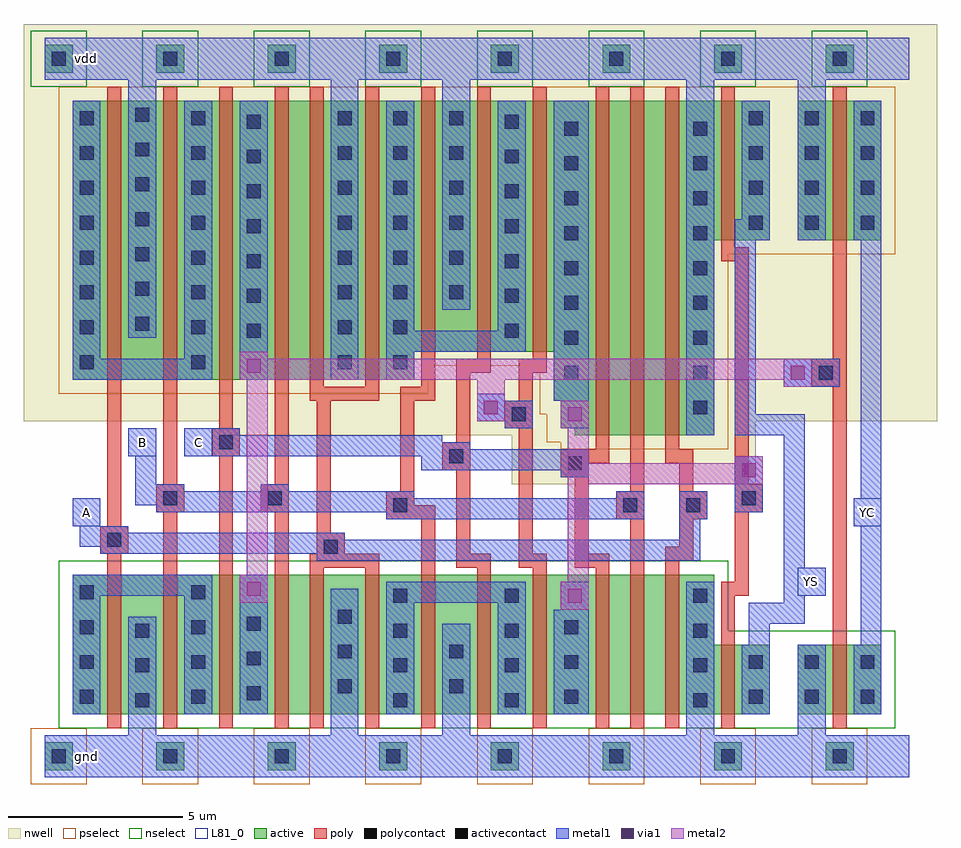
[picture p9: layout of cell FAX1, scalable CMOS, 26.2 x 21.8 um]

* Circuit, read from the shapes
.subckt FAX1 A B C YC YS gnd vdd
M1 gnd A n1 gnd nfet w=4u l=0.4u
M2 n1 B gnd gnd nfet w=4u l=0.4u
M3 n2 C n1 gnd nfet w=4u l=0.4u
M4 n3 B n2 gnd nfet w=4u l=0.4u
M5 gnd A n3 gnd nfet w=4u l=0.4u
M6 n4 A gnd gnd nfet w=4u l=0.4u
M7 gnd B n4 gnd nfet w=4u l=0.4u
M8 n4 C gnd gnd nfet w=4u l=0.4u
M9 n5 n2 n4 gnd nfet w=4u l=0.4u
M10 n6 C n5 gnd nfet w=4u l=0.4u
M11 n7 B n6 gnd nfet w=4u l=0.4u
M12 gnd A n7 gnd nfet w=4u l=0.4u
M13 YS n5 gnd gnd nfet w=2u l=0.4u
M14 YC n2 gnd gnd nfet w=2u l=0.4u
M15 vdd A n8 vdd pfet w=8u l=0.4u
M16 n8 B vdd vdd pfet w=8u l=0.4u
M17 n2 C n8 vdd pfet w=8u l=0.4u
M18 n9 B n2 vdd pfet w=8u l=0.4u
M19 vdd A n9 vdd pfet w=8u l=0.4u
M20 n10 A vdd vdd pfet w=8u l=0.4u
M21 vdd B n10 vdd pfet w=7.2u l=0.4u
M22 n10 C vdd vdd pfet w=7.2u l=0.4u
M23 n5 n2 n10 vdd pfet w=7.2u l=0.4u
M24 n11 C n5 vdd pfet w=9.6u l=0.4u
M25 n12 B n11 vdd pfet w=9.6u l=0.4u
M26 vdd A n12 vdd pfet w=9.6u l=0.4u
M27 YS n5 vdd vdd pfet w=4u l=0.4u
M28 YC n2 vdd vdd pfet w=4u l=0.4u
.ends

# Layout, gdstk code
import gdstk
lib = gdstk.Library(unit=1e-6, precision=1e-09)
def R(c, l, rs):  # rectangles x0, y0, x1, y1
    for r in rs: c.add(gdstk.rectangle(r[:2], r[2:], *l))
def A(c, l, x, y, w, h, nx, ny, dx, dy):  # array of equal rectangles
    R(c, l, [(x+i*dx, y+j*dy, x+i*dx+w, y+j*dy+h) for i in range(nx) for j in range(ny)])
nwell = (42, 0)
active = (43, 0)
pselect = (44, 0)
nselect = (45, 0)
poly = (46, 0)
polycontact = (47, 0)
activecontact = (48, 0)
metal1 = (49, 0)
via1 = (50, 0)
metal2 = (51, 0)
L81_0 = (81, 0)

fax1 = lib.new_cell('FAX1')
R(fax1, nwell, [(13,7.8,20,9.2), (4.6,9.2,20,9.6), (-1,9.6,25.2,21)])
A(fax1, active, -0.4, -0.4, 0.8, 0.8, 8, 2, 3.2, 20)
R(fax1, active, [(0.4,1.2,20.4,3.2), (21.2,1.2,23.6,3.2), (0.4,3.2,18.8,5.2), (14.8,9.2,18.8,9.4), (14.4,9.4,18.8,10.2), (14.2,10.2,18.8,11.6), (0.4,10.8,10.2,11.6), (0.4,11.6,18.8,14.8), (0.4,14.8,20.4,18.8), (21.2,14.8,23.6,18.8)])
A(fax1, pselect, -0.8, -0.8, 1.6, 1.6, 8, 1, 3.2, 0)
R(fax1, pselect, [(14.4,8.8,19.2,9), (14,9,19.2,9.8), (13.8,9.8,19.2,11.2), (0,10.4,10.6,11.2), (0,11.2,19.2,14.4), (0,14.4,24,19.2)])
A(fax1, nselect, -0.8, 19.2, 1.6, 1.6, 8, 1, 3.2, 0)
R(fax1, nselect, [(0,0.8,24,3.6), (0,3.6,19.2,5.6)])
A(fax1, poly, 7.2, 10.6, 0.4, 8.6, 3, 1, 1.6, 0)
R(fax1, poly, [(1.4,0.8,1.8,5.8), (3,0.8,3.4,7), (4.6,0.8,5,8.6), (6.2,0.8,6.6,7), (7.2,0.8,7.6,5.4), (8.8,0.8,9.2,5.4), (10.4,0.8,10.8,6.8), (12,0.8,12.4,5.4), (13.6,0.8,14,5.4), (15.4,0.8,15.8,5.4), (16.4,0.8,16.8,6.8), (17.4,0.8,17.8,5.6), (19,0.8,19.4,4.6), (22.2,0.8,22.6,10.6), (19,4.6,19.8,5), (19.4,5,19.8,7), (7.2,5.4,9.2,5.8), (11.4,5.4,12.4,5.8), (13.2,5.4,14,5.8), (14.8,5.4,15.8,5.8), (17.4,5.6,18.2,6), (1.2,5.8,2,6.6), (7.4,5.8,8.2,6.4), (11.4,5.8,11.8,8.2), (13.2,5.8,13.6,9.4), (14.8,5.8,15.2,8), (17.8,6,18.2,6.8), (7.4,6.4,7.8,10.2), (1.4,6.6,1.8,19.2), (9.4,6.8,10.8,7.2), (16,6.8,16.8,7.6), (17.8,6.8,18.6,7.6), (2.8,7,3.6,7.8), (5.8,7,6.6,7.8), (19.4,7,20.2,7.8), (9.4,7.2,10.2,7.6), (9.8,7.6,10.2,10.2), (16.4,7.6,16.8,19.2), (17.8,7.6,18.2,8.4), (3,7.8,3.4,19.2), (6.2,7.8,6.6,19.2), (19.4,7.8,19.8,14.2), (14.4,8,15.2,8.4), (11,8.2,11.8,9), (14.4,8.4,15.8,8.8), (17.4,8.4,18.2,8.8), (4.4,8.6,5.2,9.4), (15.4,8.8,15.8,19.2), (17.4,8.8,17.8,19.2), (11.4,9,11.8,11), (4.6,9.4,5,19.2), (12.8,9.4,13.6,10.2), (7.2,10.2,9.2,10.6), (9.8,10.2,10.8,10.6), (13.2,10.2,13.6,11), (21.6,10.6,22.6,11.4), (11.4,11,12.4,11.4), (13.2,11,14,11.4), (12,11.4,12.4,19.2), (13.6,11.4,14,19.2), (22.2,11.4,22.6,19.2), (19,14.2,19.8,14.6), (19,14.6,19.4,19.2)])
R(fax1, polycontact, [(7.6,5.8,8,6.2), (1.4,6,1.8,6.4), (9.6,7,10,7.4), (16.2,7,16.6,7.4), (18,7,18.4,7.4), (3,7.2,3.4,7.6), (6,7.2,6.4,7.6), (19.6,7.2,20,7.6), (14.6,8.2,15,8.6), (11.2,8.4,11.6,8.8), (4.6,8.8,5,9.2), (13,9.6,13.4,10), (21.8,10.8,22.2,11.2)])
A(fax1, activecontact, -0.2, -0.2, 0.4, 0.4, 8, 2, 3.2, 20)
A(fax1, activecontact, 2.2, 1.4, 0.4, 0.4, 1, 3, 0, 1)
A(fax1, activecontact, 9.6, 1.4, 0.4, 0.4, 1, 4, 0, 1)
A(fax1, activecontact, 12.8, 1.4, 0.4, 0.4, 1, 4, 0, 1)
A(fax1, activecontact, 18.2, 1.4, 0.4, 0.4, 1, 4, 0, 1)
A(fax1, activecontact, 0.6, 1.5, 0.4, 0.4, 1, 4, 0, 1)
A(fax1, activecontact, 3.8, 1.5, 0.4, 0.4, 1, 4, 0, 1)
A(fax1, activecontact, 14.5, 1.5, 0.4, 0.4, 1, 3, 0, 1)
A(fax1, activecontact, 19.8, 1.5, 0.4, 0.4, 3, 2, 1.6, 1)
A(fax1, activecontact, 5.4, 1.6, 0.4, 0.4, 1, 3, 0, 1)
A(fax1, activecontact, 8, 1.8, 0.4, 0.4, 1, 3, 0, 1)
A(fax1, activecontact, 18.2, 9.8, 0.4, 0.4, 1, 9, 0, 1)
A(fax1, activecontact, 14.5, 10.8, 0.4, 0.4, 1, 8, 0, 1)
A(fax1, activecontact, 0.6, 11.1, 0.4, 0.4, 1, 8, 0, 1)
A(fax1, activecontact, 3.8, 11.1, 0.4, 0.4, 1, 8, 0, 1)
A(fax1, activecontact, 5.4, 12, 0.4, 0.4, 1, 7, 0, 1)
A(fax1, activecontact, 12.8, 12, 0.4, 0.4, 1, 7, 0, 1)
A(fax1, activecontact, 2.2, 12.2, 0.4, 0.4, 1, 7, 0, 1)
A(fax1, activecontact, 8, 13.1, 0.4, 0.4, 3, 6, 1.6, 1)
A(fax1, activecontact, 19.8, 15.1, 0.4, 0.4, 3, 4, 1.6, 1)
R(fax1, activecontact, [(11.2,1.8,11.6,2.2), (11.2,2.8,11.6,3.2), (8,11.1,8.4,11.5), (9.6,11.1,10,11.5), (8,12.1,8.4,12.5), (9.6,12.1,10,12.5)])
R(fax1, metal1, [(-0.4,-0.6,24.4,0.6), (2,0.6,2.8,4), (7.8,0.6,8.6,4.8), (11,0.6,11.8,3.8), (18,0.6,18.8,5), (21.2,0.6,22,3.2), (0.4,1.2,1.2,4.6), (3.6,1.2,4.4,4.6), (5.2,1.2,6,5.2), (9.4,1.2,10.2,4.4), (12.6,1.2,13.4,4.4), (14.2,1.2,15.2,4.2), (19.6,1.2,20.4,3.2), (22.8,1.2,23.6,3.2), (19.8,3.2,20.4,3.8), (23,3.2,23.6,6.6), (19.8,3.8,21.4,4.4), (14.4,4.2,15.2,5), (9.4,4.4,13.4,5), (20.8,4.4,21.4,4.6), (0.4,4.6,4.4,5.2), (20.8,4.6,22,5.4), (20.8,5.4,21.4,9.2), (7.4,5.6,18.4,5.8), (1.2,5.8,18.4,6), (0.6,6,18.4,6.2), (0.6,6.2,8.2,6.4), (17.8,6.2,18.4,6.8), (0.6,6.4,2,6.6), (0.4,6.6,1.2,7.4), (22.8,6.6,23.6,7.4), (9.4,6.8,16.8,7), (17.8,6.8,18.6,7.6), (2.8,7,16.8,7.2), (19.4,7,20.2,8.6), (2.2,7.2,16.8,7.4), (2.2,7.4,10.2,7.6), (16,7.4,16.8,7.6), (23,7.4,23.6,14.8), (2.2,7.6,3.6,7.8), (5.8,7.6,6.6,7.8), (2.2,7.8,2.8,8.6), (14.4,8,15.2,8.2), (10.4,8.2,15.2,8.6), (2,8.6,2.8,9.4), (3.6,8.6,15.2,8.8), (3.6,8.8,11.8,9), (3.6,9,11,9.2), (3.6,9.2,5.2,9.4), (18,9.2,18.8,19.4), (19.4,9.2,21.4,9.8), (12.8,9.4,13.6,9.6), (14.4,9.4,15.2,10.2), (12,9.6,13.6,10.2), (19.4,9.8,20,14.8), (12,10.2,12.8,10.4), (14.2,10.2,15.2,18.8), (20.8,10.6,22.4,11.4), (0.4,10.8,4.4,11.4), (5.2,10.8,6,18.8), (7.8,10.8,8.6,19.4), (9.4,10.8,10.2,11.6), (0.4,11.4,1.2,18.8), (3.6,11.4,4.4,18.8), (9.4,11.6,13.4,12.2), (2,12,2.8,19.4), (9.4,12.2,10.2,18.8), (12.6,12.2,13.4,18.8), (11,12.8,11.8,19.4), (19.4,14.8,20.4,15.4), (21.2,14.8,22,19.4), (22.8,14.8,23.6,18.8), (19.6,15.4,20.4,18.8), (-0.4,19.4,24.4,20.6)])
R(fax1, via1, [(14.6,4.4,15,4.8), (5.4,4.6,5.8,5), (19.6,8,20,8.4), (14.6,9.6,15,10), (12.2,9.8,12.6,10.2), (21,10.8,21.4,11.2), (5.4,11,5.8,11.4)])
R(fax1, metal2, [(14.4,4.2,15.2,5), (5.2,4.4,6,5.2), (14.6,5,15.2,7.8), (5.4,5.2,6,10.8), (14.6,7.8,20.2,8.4), (14.6,8.4,15.2,9.4), (19.4,8.4,20.2,8.6), (14.4,9.4,15.2,10.2), (12,9.6,12.8,10.8), (20.8,10.6,21.6,10.8), (5.2,10.8,21.6,11.4), (5.2,11.4,6,11.6)])
R(fax1, L81_0, [(21.2,4.6,22,5.4), (0.4,6.6,1.2,7.4), (22.8,6.6,23.6,7.4), (2,8.6,2.8,9.4), (3.6,8.6,4.4,9.4)])
fax1.add(gdstk.Label('gnd', (0.8,0), layer=109, texttype=0))
fax1.add(gdstk.Label('vdd', (0.8,20), layer=109, texttype=0))
fax1.add(gdstk.Label('A', (0.8,7), layer=109, texttype=0))
fax1.add(gdstk.Label('B', (2.4,9), layer=109, texttype=0))
fax1.add(gdstk.Label('C', (4,9), layer=109, texttype=0))
fax1.add(gdstk.Label('YC', (23.2,7), layer=109, texttype=0))
fax1.add(gdstk.Label('YS', (21.6,5), layer=109, texttype=0))

lib.write_gds('FAX1.gds')
